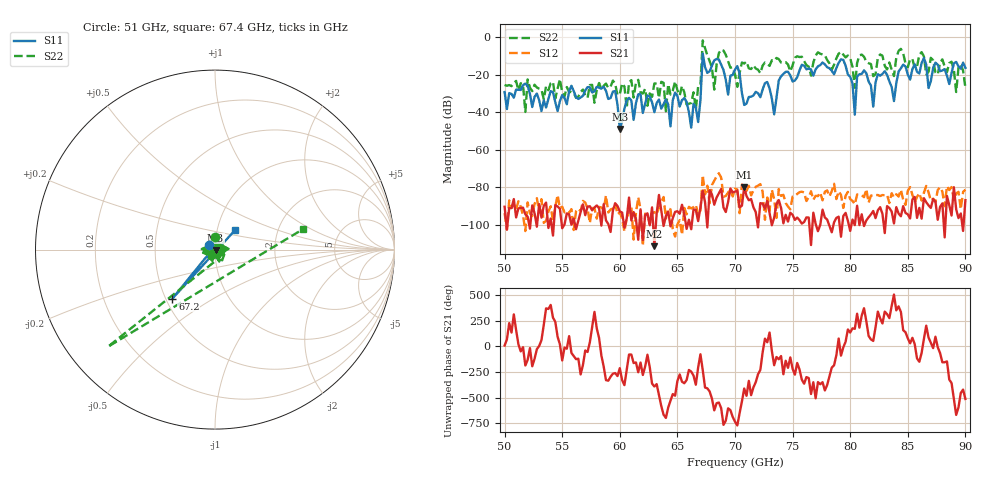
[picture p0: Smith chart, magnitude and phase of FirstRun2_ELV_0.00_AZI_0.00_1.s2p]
! 11/24/2026 3:11:54 PM
! C:\ANRITSUVNA\TEMP\TEMP.S2P
! CHANNEL.1
! TR.MEASUREMENT
! RAW.DATA
# HZ S RI R 50.0
! FREQ.HZ  S11RE  S11IM  S21RE  S21IM  S12RE  S12IM  S22RE  S22IM
!; PortSelection: Port_12
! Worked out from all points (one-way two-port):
!   201 points, 50 GHz to 90 GHz, reference 50 ohm
!   highest |S21| = -79.93 dB at 70.8 GHz (marker M1); lowest = -111.4 dB at 63 GHz (marker M2)
!   lowest |S11| = -49.0 dB at 60 GHz (marker M3), VSWR 1.01, Z = 50.3 - j0.149 ohm
!   |S11| at or under -10 dB: start of sweep to 67.19 GHz; 67.23 GHz to end of sweep
!   |S22| runs from -39.9 to -1.9 dB; largest |S21 - S12| = 0.0003
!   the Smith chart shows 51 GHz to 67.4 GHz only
!   S11 on the Smith chart (normalised r, x): 51 GHz: 0.94, +0.05; 67.2 GHz: 0.54, -0.34; 67.4 GHz: 1.22, +0.27
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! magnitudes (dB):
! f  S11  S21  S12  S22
! 50 GHz  -29.3  -90.4  -93.8  -25.6
! 51 GHz  -28.0  -96.1  -91.8  -23.4
! 51.8 GHz  -24.8  -94.4  -103.3  -39.9
! 52 GHz  -26.0  -95.7  -88.1  -22.6
! 56.8 GHz  -31.4  -89.1  -87.3  -28.0
! 59.6 GHz  -28.8  -88.6  -88.7  -24.9
! 60 GHz  -49.0  -92.9  -93.4  -30.5
! 63 GHz  -40.1  -111.4  -93.2  -24.7
! 63.4 GHz  -33.3  -84.1  -90.8  -32.6
! 66.8 GHz  -45.3  -98.0  -94.5  -26.4
! 67.2 GHz  -8.8  -81.8  -73.6  -1.9
! 67.4 GHz  -16.1  -88.0  -83.8  -6.0
! 68.2 GHz  -12.4  -89.3  -76.6  -28.0
! 68.8 GHz  -14.8  -81.0  -74.9  -6.7
! 70 GHz  -17.4  -82.4  -80.8  -19.9
! 70.8 GHz  -36.2  -79.9  -79.2  -14.1
! 76.8 GHz  -20.6  -93.6  -86.7  -13.6
! 79.4 GHz  -12.2  -95.3  -91.0  -9.4
! 80.4 GHz  -41.4  -100.2  -89.1  -27.1
! 80.6 GHz  -21.0  -89.8  -83.9  -13.9
! 83.4 GHz  -23.7  -91.1  -88.4  -13.6
! 90 GHz  -16.4  -86.9  -81.3  -27.0
